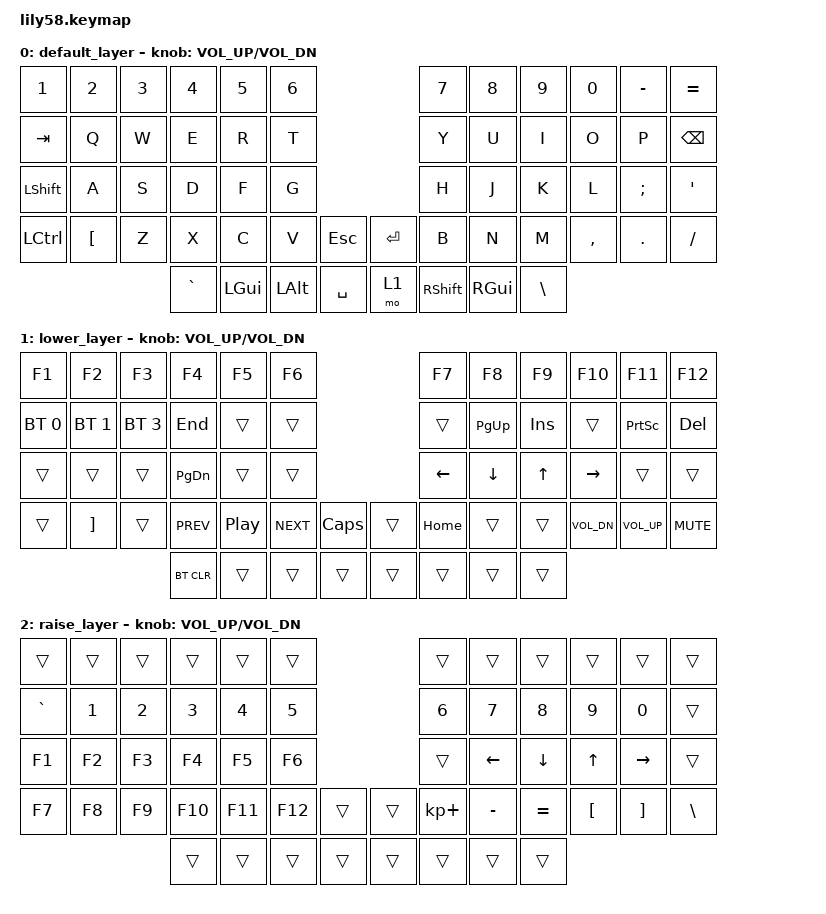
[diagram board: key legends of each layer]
/*
 * Copyright (c) 2020 The ZMK Contributors
 *
 * SPDX-License-Identifier: MIT
 */

#include <behaviors.dtsi>
#include <dt-bindings/zmk/keys.h>
#include <dt-bindings/zmk/bt.h>
#include <dt-bindings/zmk/ext_power.h>

/ {
    keymap {
        compatible = "zmk,keymap";

        default_layer {
// Default:
// ------------------------------------------------------------------------------------------------------------
// |  ESC  |  1  |  2  |  3   |  4   |  5   |                   |  6   |  7    |  8    |  9   |   0   |   `   |
// |  TAB  |  Q  |  W  |  E   |  R   |  T   |                   |  Y   |  U    |  I    |  O   |   P   |   -   |
// |  CTRL |  A  |  S  |  D   |  F   |  G   |                   |  H   |  J    |  K    |  L   |   ;   |   '   |
// | SHIFT |  Z  |  X  |  C   |  V   |  B   |   "["  |  |  "]"  |  N   |  M    |  ,    |  .   |   /   | SHIFT |
//                     | ALT  | GUI  | LOWER|  SPACE |  | ENTER | RAISE| BSPC  | GUI   |
//&kp ESC   &kp N1 &kp N2 &kp N3   &kp N4   &kp N5                     &kp N6 &kp N7   &kp N8    &kp N9  &kp N0   &kp GRAVE
//&kp TAB   &kp Q  &kp W  &kp E    &kp R    &kp T                      &kp Y  &kp U    &kp I     &kp O   &kp P    &kp MINUS
//&kp LCTRL &kp A  &kp S  &kp D    &kp F    &kp G                      &kp H  &kp J    &kp K     &kp L   &kp SEMI &kp SQT
//&kp LSHFT &kp Z  &kp X  &kp C    &kp V    &kp B  &kp LBKT   &kp RBKT &kp N  &kp M    &kp COMMA &kp DOT &kp FSLH &kp RSHFT
//                        &kp LALT &kp LGUI &mo 1  &kp SPACE  &kp RET  &mo 2  &kp BSPC &kp RGUI

// Ginger:
// ------------------------------------------------------------------------------------------------------------
// |   1   |  2  |  3  |  4   |   5   |   6   |                   |   7   |   8   |   9   |   0   |   -   |   =   |
// |  TAB  |  Q  |  W  |  E   |   R   |   T   |                   |   Y   |   U   |   I   |   O   |   P   | BSPC  |
// | SHIFT |  A  |  S  |  D   |   F   |   G   |                   |   H   |   J   |   K   |   L   |   ;   |   "   |
// | CTRL  | "[" |  Z  |  X   |   C   |   V   |   ESC  |  | ENTER |   B   |   N   |   M   |   ,   |   .   |   /   |
//                     |  `   |  GUI  |  ALT  |  LOWER |  | SPACE | LOWER |  ALT  |   \   |
            bindings = <
&kp N1    &kp N2   &kp N3 &kp N4    &kp N5   &kp N6                          &kp N7     &kp N8     &kp N9    &kp N0    &kp MINUS &kp EQUAL
&kp TAB   &kp Q    &kp W  &kp E     &kp R    &kp T                           &kp Y      &kp U      &kp I     &kp O     &kp P     &kp BSPC
&kp LSHFT &kp A    &kp S  &kp D     &kp F    &kp G                           &kp H      &kp J      &kp K     &kp L     &kp SEMI  &kp SQT
&kp LCTRL &kp LBKT &kp Z  &kp X     &kp C    &kp V    &kp ESC     &kp RET    &kp B      &kp N      &kp M     &kp COMMA &kp DOT   &kp FSLH
                          &kp GRAVE &kp LGUI &kp LALT &kp SPACE   &mo 1      &kp RSHIFT &kp RGUI   &kp BSLH
            >;

            sensor-bindings = <&inc_dec_kp C_VOL_UP C_VOL_DN>;
        };

        lower_layer {
// Default:
// ------------------------------------------------------------------------------------------------------------
// | BTCLR | BT1 | BT2 |  BT3 |  BT4 |  BT5 |                   |      |       |       |      |       |       |
// |  F1   |  F2 |  F3 |  F4  |  F5  |  F6  |                   |  F7  |  F8   |  F9   |  F10 |  F11  |  F12  |
// |   `   |  !  |  @  |  #   |  $   |  %   |                   |  ^   |  &    |  *    |  (   |   )   |   ~   |
// |       |     |     |      |      |      |        |  |       |      |  _    |  +    |  {   |   }   |  "|"  |
//                     |      |      |      |        |  |       |      |       |       |
//&bt BT_CLR &bt BT_SEL 0     &bt BT_SEL 1      &bt BT_SEL 2      &bt BT_SEL 3 &bt BT_SEL 4                 &trans    &trans    &trans          &trans    &trans    &trans
//&kp F1     &kp F2           &kp F3            &kp F4            &kp F5       &kp F6                       &kp F7    &kp F8    &kp F9          &kp F10   &kp F11   &kp F12
//&kp GRAVE  &kp EXCL         &kp AT            &kp HASH          &kp DOLLAR   &kp PRCNT                    &kp CARET &kp AMPS  &kp KP_MULTIPLY &kp LPAR  &kp RPAR  &kp TILDE
//&trans     &ext_power EP_ON &ext_power EP_OFF &ext_power EP_TOG &trans       &trans    &trans   &trans    &trans    &kp MINUS &kp KP_PLUS     &kp LBRC  &kp RBRC  &kp PIPE
//                                              &trans            &trans       &trans    &trans   &trans    &trans    &trans    &trans

// Ginger:
// ------------------------------------------------------------------------------------------------------------
// |  F1  |  F2  |  F3  |  F4   |  F5  |  F6  |                 |  F7  |  F8  |  F9  |  F10  |  F11  |  F12 |
// | BT1  | BT2  | BT3  | END   |      |      |                 |      | PGUP | INS  |       | PSCRN |  DEL |
// |      |      |      | PGDN  |      |      |                 | LEFT | DOWN |  UP  | RIGHT |       |      |
// |      | "]"  | PREV | PLAY  | NEXT | HOME | CAPS  |  |      |      |      | VOL+ |  VOL- | MUTE  |      |
//                      | BTCLR |      |      |       |  |      |      |      |      |
            bindings = <
&kp F1       &kp F2       &kp F3       &kp F4      &kp F5    &kp F6                      &kp F7    &kp F8    &kp F9   &kp F10       &kp F11       &kp F12
&bt BT_SEL 0 &bt BT_SEL 1 &bt BT_SEL 3 &kp END     &trans    &trans                      &trans    &kp PG_UP &kp INS  &trans        &kp PSCRN     &kp DEL
&trans       &trans       &trans       &kp PG_DN   &trans    &trans                      &kp LEFT  &kp DOWN  &kp UP   &kp RIGHT     &trans        &trans
&trans       &kp RBKT     &trans       &kp C_PREV  &kp C_PP  &kp C_NEXT &kp CAPS &trans  &kp HOME  &trans    &trans   &kp C_VOL_DN  &kp C_VOL_UP  &kp C_MUTE 
                                       &bt BT_CLR  &trans    &trans     &trans   &trans  &trans    &trans    &trans
            >;

            sensor-bindings = <&inc_dec_kp C_VOL_UP C_VOL_DN>;
        };

        raise_layer {
// ------------------------------------------------------------------------------------------------------------
// |       |     |     |      |      |      |                   |      |       |       |      |       |       |
// |   `   |  1  |  2  |  3   |  4   |  5   |                   |  6   |   7   |   8   |  9   |   0   |       |
// |   F1  |  F2 |  F3 |  F4  |  F5  |  F6  |                   |      |   <-  |   v   |  ^   |  ->   |       |
// |   F7  |  F8 |  F9 |  F10 |  F11 |  F12 |        |  |       |  +   |   -   |   =   |  [   |   ]   |   \   |
//                     |      |      |      |        |  |       |      |       |       |
            bindings = <
&trans    &trans &trans &trans  &trans  &trans                       &trans      &trans    &trans    &trans   &trans    &trans
&kp GRAVE &kp N1 &kp N2 &kp N3  &kp N4  &kp N5                       &kp N6      &kp N7    &kp N8    &kp N9   &kp N0    &trans
&kp F1    &kp F2 &kp F3 &kp F4  &kp F5  &kp F6                       &trans      &kp LEFT  &kp DOWN  &kp UP   &kp RIGHT &trans
&kp F7    &kp F8 &kp F9 &kp F10 &kp F11 &kp F12   &trans   &trans    &kp KP_PLUS &kp MINUS &kp EQUAL &kp LBKT &kp RBKT  &kp BSLH
                        &trans  &trans  &trans    &trans   &trans    &trans      &trans    &trans
            >;

            sensor-bindings = <&inc_dec_kp C_VOL_UP C_VOL_DN>;
        };
    };
};
